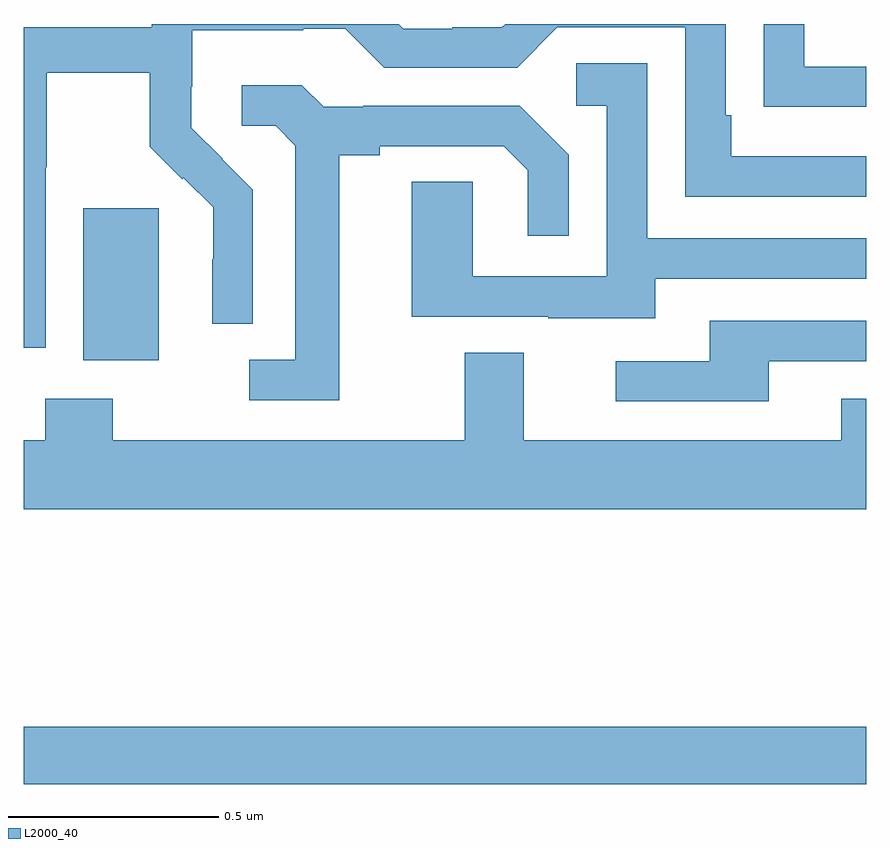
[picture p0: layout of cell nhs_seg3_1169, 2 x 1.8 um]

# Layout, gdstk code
import gdstk
lib = gdstk.Library(unit=1e-6, precision=1e-09)
def R(c, l, rs):  # rectangles x0, y0, x1, y1
    for r in rs: c.add(gdstk.rectangle(r[:2], r[2:], *l))
def P(c, l, *ps):  # polygons
    for p in ps: c.add(gdstk.Polygon(p, *l))
L2000_40 = (2000, 40)

nhs_seg3_1169 = lib.new_cell('nhs_seg3_1169')
R(nhs_seg3_1169, L2000_40, [(125,701.596,127,701.732), (125.141,702.602,125.32,702.963)])
P(nhs_seg3_1169, L2000_40, [(125.052,703.06),(125.055,703.06),(125.055,703.284),(125.299,703.284),(125.299,703.109),(125.376,703.032),(125.379,703.035),(125.45,702.965),(125.45,702.842),(125.448,702.842),(125.448,702.688),(125.544,702.688),(125.544,703.006),(125.471,703.079),(125.472,703.08),(125.398,703.154),(125.398,703.251),(125.4,703.251),(125.4,703.385),(125.663,703.385),(125.663,703.389),(125.763,703.389),(125.856,703.296),(126.171,703.296),(126.267,703.392),(126.57,703.392),(126.57,702.99),(127,702.99),(127,703.086),(126.679,703.086),(126.679,703.183),(126.666,703.183),(126.666,703.4),(126.143,703.4),(126.135,703.392),(126.017,703.392),(126.017,703.389),(125.901,703.389),(125.89,703.4),(125.304,703.4),(125.304,703.392),(125,703.392),(125,702.631),(125.052,702.631)],
  [(127,703.299),(126.853,703.299),(126.853,703.4),(126.757,703.4),(126.757,703.204),(126.859,703.204),(126.859,703.203),(127,703.203)],
  [(126.499,702.795),(127,702.795),(127,702.891),(126.48,702.891),(126.48,703.307),(126.312,703.307),(126.312,703.206),(126.384,703.206),(126.384,702.801),(126.066,702.801),(126.066,703.025),(125.921,703.025),(125.921,702.705),(126.245,702.705),(126.245,702.701),(126.499,702.701)],
  [(125.749,703.088),(125.845,703.088),(125.845,703.11),(126.14,703.11),(126.197,703.053),(126.197,702.897),(126.294,702.897),(126.294,703.09),(126.178,703.206),(125.806,703.206),(125.806,703.203),(125.712,703.203),(125.66,703.255),(125.517,703.255),(125.517,703.158),(125.598,703.158),(125.645,703.111),(125.645,702.603),(125.535,702.603),(125.535,702.507),(125.749,702.507)],
  [(126.769,702.6),(127,702.6),(127,702.696),(126.629,702.696),(126.629,702.6),(126.405,702.6),(126.405,702.504),(126.769,702.504)],
  [(127,702.511),(126.941,702.511),(126.941,702.412),(126.187,702.412),(126.187,702.62),(126.047,702.62),(126.047,702.412),(125.211,702.412),(125.211,702.511),(125.051,702.511),(125.051,702.412),(125,702.412),(125,702.248),(127,702.248)])

lib.write_gds('nhs_seg3_1169.gds')
